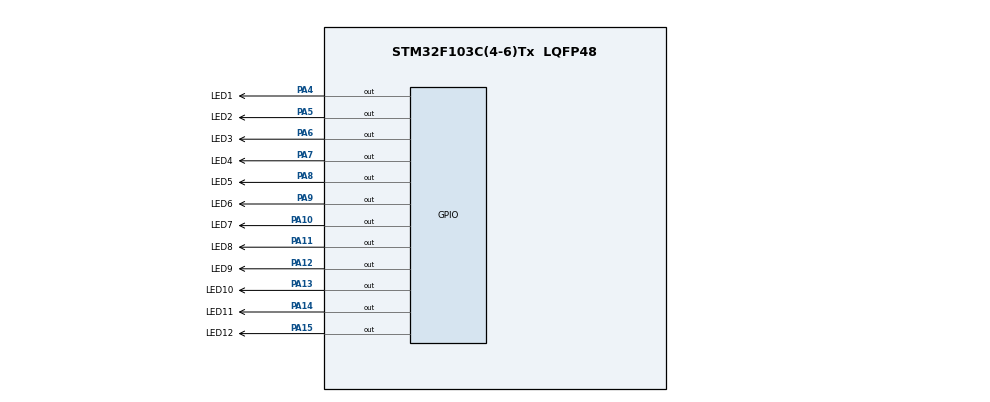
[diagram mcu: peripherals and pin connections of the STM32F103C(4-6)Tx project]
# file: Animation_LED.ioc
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Mcu.Family=STM32F1
Mcu.Name=STM32F103C(4-6)Tx
Mcu.Package=LQFP48
NVIC.PriorityGroup=NVIC_PRIORITYGROUP_4
PA10.GPIO_Label=LED7
PA10.Signal=GPIO_Output
PA11.GPIO_Label=LED8
PA11.Signal=GPIO_Output
PA12.GPIO_Label=LED9
PA12.Signal=GPIO_Output
PA13.GPIO_Label=LED10
PA13.Signal=GPIO_Output
PA14.GPIO_Label=LED11
PA14.Signal=GPIO_Output
PA15.GPIO_Label=LED12
PA15.Signal=GPIO_Output
PA4.GPIO_Label=LED1
PA4.Signal=GPIO_Output
PA5.GPIO_Label=LED2
PA5.Signal=GPIO_Output
PA6.GPIO_Label=LED3
PA6.Signal=GPIO_Output
PA7.GPIO_Label=LED4
PA7.Signal=GPIO_Output
PA8.GPIO_Label=LED5
PA8.Signal=GPIO_Output
PA9.GPIO_Label=LED6
PA9.Signal=GPIO_Output
ProjectManager.HeapSize=0x200
ProjectManager.StackSize=0x400
ProjectManager.TargetToolchain=STM32CubeIDE
RCC.APB1Freq_Value=8000000
RCC.APB2Freq_Value=8000000
VP_SYS_VS_ND.Mode=No_Debug
board=custom

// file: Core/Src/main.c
/* USER CODE BEGIN Header */
/**
  ******************************************************************************
  * @file           : main.c
  * @brief          : Main program body
  ******************************************************************************
  * @attention
  *
  * <h2><center>&copy; Copyright (c) 2023 STMicroelectronics.
  * All rights reserved.</center></h2>
  *
  * This software component is licensed by ST under BSD 3-Clause license,
  * the "License"; You may not use this file except in compliance with the
  * License. You may obtain a copy of the License at:
  *                        opensource.org/licenses/BSD-3-Clause
  *
  ******************************************************************************
  */
/* USER CODE END Header */
#include "main.h"

void SystemClock_Config(void);
static void MX_GPIO_Init(void);

int main(void)
{

  /* MCU Configuration--------------------------------------------------------*/

  /* Reset of all peripherals, Initializes the Flash interface and the Systick. */
  HAL_Init();

  /* Configure the system clock */
  SystemClock_Config();

  /* Initialize all configured peripherals */
  MX_GPIO_Init();

  /* Infinite loop */
  /* USER CODE BEGIN WHILE */
#define LED_GPIO_Port GPIOA

void test_led(){
	const uint16_t LED_Pins[12] = {LED1_Pin, LED2_Pin, LED3_Pin, LED4_Pin, LED5_Pin,
	                               LED6_Pin, LED7_Pin, LED8_Pin, LED9_Pin, LED10_Pin,
	                               LED11_Pin, LED12_Pin};
    for(int i = 0; i < 12; ++i)
    {
      HAL_GPIO_WritePin(LED_GPIO_Port, LED_Pins[i], GPIO_PIN_RESET);
      HAL_Delay(500);
      HAL_GPIO_WritePin(LED_GPIO_Port, LED_Pins[i], GPIO_PIN_SET);
    }
}
void clearAllClock(){
	const uint16_t LED_Pins[12] = {LED1_Pin, LED2_Pin, LED3_Pin, LED4_Pin, LED5_Pin,
	                               LED6_Pin, LED7_Pin, LED8_Pin, LED9_Pin, LED10_Pin,
	                               LED11_Pin, LED12_Pin};
	for (int i= 0 ;i<12;++i){
		HAL_GPIO_WritePin(LED_GPIO_Port, LED_Pins[i], GPIO_PIN_SET);
	}
}
void setNumberOnClock(int num){
	const uint16_t LED_Pins[12] = {LED1_Pin, LED2_Pin, LED3_Pin, LED4_Pin, LED5_Pin,
	                               LED6_Pin, LED7_Pin, LED8_Pin, LED9_Pin, LED10_Pin,
	                               LED11_Pin, LED12_Pin};
	HAL_GPIO_WritePin(LED_GPIO_Port, LED_Pins[num], GPIO_PIN_RESET);
}
void clearNumberOnClock(int num){
	const uint16_t LED_Pins[12] = {LED1_Pin, LED2_Pin, LED3_Pin, LED4_Pin, LED5_Pin,
	                               LED6_Pin, LED7_Pin, LED8_Pin, LED9_Pin, LED10_Pin,
	                               LED11_Pin, LED12_Pin};
	HAL_GPIO_WritePin(LED_GPIO_Port, LED_Pins[num], GPIO_PIN_SET);
}
int count = 0;
int min = 0;
int hour = 0;
clearAllClock();
  while (1)
  {
	  if (count==12) {
		  count = 0;
		  min++;
	  }
	  if (min==12){
		  min = 0;
		  hour++;
	  }
	  if (hour==12){
		  hour = 0;
	  }
	  setNumberOnClock(min);
	  setNumberOnClock(hour);
	  setNumberOnClock(count);
	  HAL_Delay(1000);
	  if (count!=min && count!=hour)
	  clearNumberOnClock(count);
	  count++;
	  clearAllClock();
	     /* USER CODE END WHILE */
  }
}

void SystemClock_Config(void)
{
  RCC_OscInitTypeDef RCC_OscInitStruct = {0};
  RCC_ClkInitTypeDef RCC_ClkInitStruct = {0};

  /** Initializes the RCC Oscillators according to the specified parameters
  * in the RCC_OscInitTypeDef structure.
  */
  RCC_OscInitStruct.OscillatorType = RCC_OSCILLATORTYPE_HSI;
  RCC_OscInitStruct.HSIState = RCC_HSI_ON;
  RCC_OscInitStruct.HSICalibrationValue = RCC_HSICALIBRATION_DEFAULT;
  RCC_OscInitStruct.PLL.PLLState = RCC_PLL_NONE;
  if (HAL_RCC_OscConfig(&RCC_OscInitStruct) != HAL_OK)
  {
    Error_Handler();
  }
  /** Initializes the CPU, AHB and APB buses clocks
  */
  RCC_ClkInitStruct.ClockType = RCC_CLOCKTYPE_HCLK|RCC_CLOCKTYPE_SYSCLK
                              |RCC_CLOCKTYPE_PCLK1|RCC_CLOCKTYPE_PCLK2;
  RCC_ClkInitStruct.SYSCLKSource = RCC_SYSCLKSOURCE_HSI;
  RCC_ClkInitStruct.AHBCLKDivider = RCC_SYSCLK_DIV1;
  RCC_ClkInitStruct.APB1CLKDivider = RCC_HCLK_DIV1;
  RCC_ClkInitStruct.APB2CLKDivider = RCC_HCLK_DIV1;

  if (HAL_RCC_ClockConfig(&RCC_ClkInitStruct, FLASH_LATENCY_0) != HAL_OK)
  {
    Error_Handler();
  }
}

static void MX_GPIO_Init(void)
{
  GPIO_InitTypeDef GPIO_InitStruct = {0};

  /* GPIO Ports Clock Enable */
  __HAL_RCC_GPIOA_CLK_ENABLE();

  /*Configure GPIO pin Output Level */
  HAL_GPIO_WritePin(GPIOA, LED1_Pin|LED2_Pin|LED3_Pin|LED4_Pin
                          |LED5_Pin|LED6_Pin|LED7_Pin|LED8_Pin
                          |LED9_Pin|LED10_Pin|LED11_Pin|LED12_Pin, GPIO_PIN_RESET);

  /*Configure GPIO pins : LED1_Pin LED2_Pin LED3_Pin LED4_Pin
                           LED5_Pin LED6_Pin LED7_Pin LED8_Pin
                           LED9_Pin LED10_Pin LED11_Pin LED12_Pin */
  GPIO_InitStruct.Pin = LED1_Pin|LED2_Pin|LED3_Pin|LED4_Pin
                          |LED5_Pin|LED6_Pin|LED7_Pin|LED8_Pin
                          |LED9_Pin|LED10_Pin|LED11_Pin|LED12_Pin;
  GPIO_InitStruct.Mode = GPIO_MODE_OUTPUT_PP;
  GPIO_InitStruct.Pull = GPIO_NOPULL;
  GPIO_InitStruct.Speed = GPIO_SPEED_FREQ_LOW;
  HAL_GPIO_Init(GPIOA, &GPIO_InitStruct);

}

void Error_Handler(void)
{
  __disable_irq();
  while (1)
  {
  }
}

/************************ (C) COPYRIGHT STMicroelectronics *****END OF FILE****/
